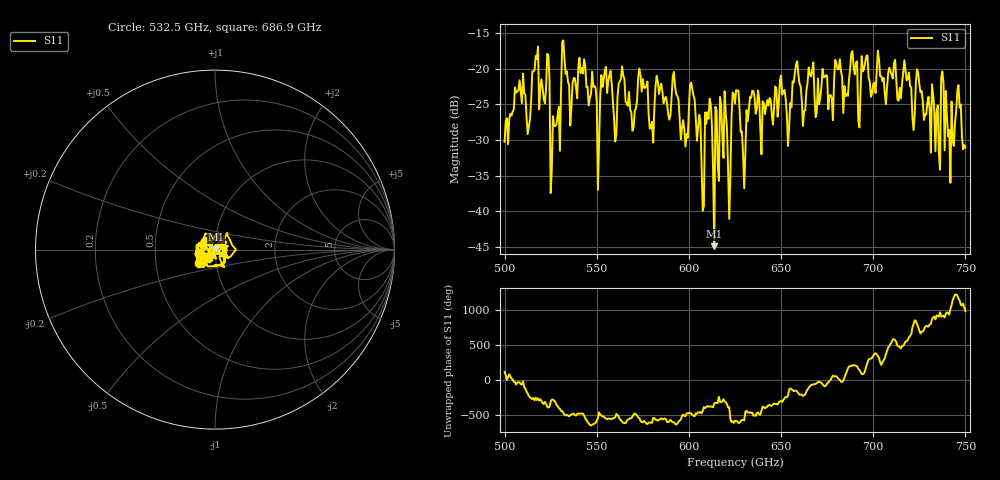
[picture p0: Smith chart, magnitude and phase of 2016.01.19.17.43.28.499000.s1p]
!Created with skrf (http://scikit-rf.org).
# GHz S RI R 50.0
!freq ReS11 ImS11
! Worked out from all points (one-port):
!   401 points, 500 GHz to 750 GHz, reference 50 ohm
!   lowest |S11| = -44.9 dB at 613.8 GHz (marker M1), VSWR 1.01, Z = 50.5 + j0.232 ohm
!   |S11| at or under -10 dB: start of sweep to end of sweep
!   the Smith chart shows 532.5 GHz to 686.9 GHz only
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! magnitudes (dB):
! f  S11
! 500 GHz  -30.2
! 506.9 GHz  -23.2
! 513.1 GHz  -28.2
! 516.9 GHz  -18.2
! 523.1 GHz  -17.9
! 526.2 GHz  -26.6
! 531.2 GHz  -16.2
! 541.9 GHz  -19.9
! 550.6 GHz  -37.0
! 553.8 GHz  -21.5
! 560 GHz  -30.2
! 562.5 GHz  -21.8
! 576.2 GHz  -22.7
! 579.4 GHz  -28.4
! 583.1 GHz  -21.8
! 593.8 GHz  -23.9
! 613.8 GHz  -44.9
! 618.1 GHz  -29.3
! 621.9 GHz  -41.1
! 625 GHz  -24.8
! 629.4 GHz  -32.0
! 634.4 GHz  -23.1
! 656.2 GHz  -21.8
! 687.5 GHz  -19.9
! 718.8 GHz  -21.4
! 735 GHz  -25.1
! 746.2 GHz  -22.3
! 750 GHz  -31.0
